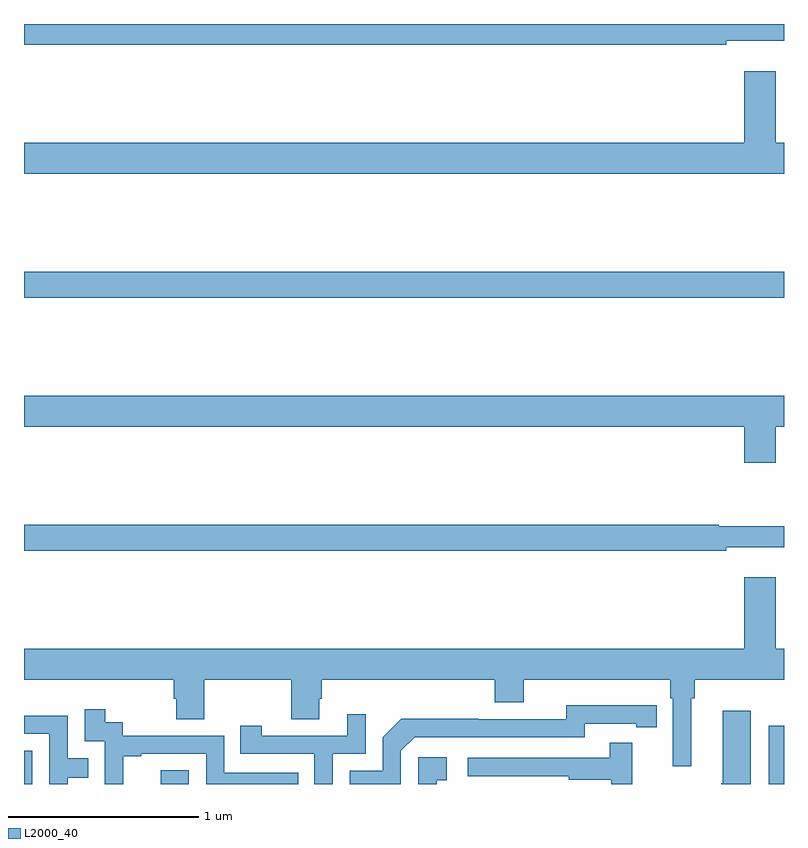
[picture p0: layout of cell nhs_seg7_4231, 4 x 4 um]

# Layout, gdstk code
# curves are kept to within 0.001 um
import gdstk
lib = gdstk.Library(unit=1e-6, precision=1e-09)
def R(c, l, rs):  # rectangles x0, y0, x1, y1
    for r in rs: c.add(gdstk.rectangle(r[:2], r[2:], *l))
def P(c, l, *ps):  # polygons
    for p in ps: c.add(gdstk.Polygon(p, *l))
L2000_40 = (2000, 40)

nhs_seg7_4231 = lib.new_cell('nhs_seg7_4231')
R(nhs_seg7_4231, L2000_40, [(377,1068,377.043,1068.174), (377.721,1068,377.868,1068.073), (380.919,1068,381,1068.307), (377,1070.56,381,1070.696)])
P(nhs_seg7_4231, L2000_40, [(380.696,1071.911),(381,1071.911),(381,1072),(377,1072),(377,1071.892),(380.696,1071.892)],
  [(381,1071.376),(380.956,1071.376),(380.956,1071.751),(380.792,1071.751),(380.792,1071.376),(377,1071.376),(377,1071.212),(381,1071.212)],
  [(380.956,1069.88),(381,1069.88),(381,1070.044),(377,1070.044),(377,1069.88),(380.792,1069.88),(380.792,1069.692),(380.956,1069.692)],
  [(380.696,1069.247),(381,1069.247),(381,1069.357),(380.657,1069.357),(380.657,1069.364),(377,1069.364),(377,1069.228),(380.696,1069.228)],
  [(377,1068.548),(377.789,1068.548),(377.789,1068.45),(377.801,1068.45),(377.801,1068.34),(377.949,1068.34),(377.949,1068.548),(378.406,1068.548),(378.406,1068.34),(378.553,1068.34),(378.553,1068.45),(378.566,1068.45),(378.566,1068.548),(379.478,1068.548),(379.478,1068.431),(379.63,1068.431),(379.63,1068.548),(380.402,1068.548),(380.402,1068.452),(380.415,1068.452),(380.415,1068.093),(380.512,1068.093),(380.512,1068.452),(380.531,1068.452),(380.531,1068.548),(381,1068.548),(381,1068.712),(380.956,1068.712),(380.956,1069.087),(380.792,1069.087),(380.792,1068.712),(377,1068.712)],
  [(378.984,1068.174),(379.056,1068.246),(379.95,1068.246),(379.95,1068.318),(380.222,1068.318),(380.222,1068.298),(380.33,1068.298),(380.33,1068.414),(379.854,1068.415),(379.854,1068.342),(379.394,1068.342),(379.394,1068.344),(378.986,1068.344),(378.888,1068.246),(378.888,1068.069),(378.714,1068.069),(378.714,1068),(378.984,1068)],
  [(377.522,1068.147),(377.617,1068.147),(377.617,1068.159),(377.958,1068.159),(377.958,1068),(378.443,1068),(378.443,1068.06),(378.054,1068.06),(378.054,1068.255),(377.52,1068.255),(377.52,1068.324),(377.428,1068.324),(377.428,1068.394),(377.319,1068.394),(377.319,1068.225),(377.424,1068.225),(377.424,1068),(377.522,1068)],
  [(380.824,1068.385),(380.678,1068.385),(380.678,1068.005),(380.671,1068.005),(380.671,1068),(380.824,1068)],
  [(378.624,1068.159),(378.798,1068.159),(378.798,1068.367),(378.701,1068.367),(378.701,1068.255),(378.25,1068.255),(378.25,1068.307),(378.139,1068.307),(378.139,1068.159),(378.528,1068.159),(378.528,1068),(378.624,1068)],
  [(377.229,1068.034),(377.339,1068.034),(377.339,1068.135),(377.229,1068.135),(377.229,1068.36),(377,1068.36),(377,1068.264),(377.133,1068.264),(377.133,1068),(377.229,1068)],
  [(380.201,1068.217),(380.083,1068.217),(380.083,1068.138),(379.335,1068.138),(379.335,1068.042),(379.867,1068.042),(379.867,1068.022),(380.091,1068.022),(380.091,1068),(380.201,1068)],
  [(379.172,1068.021),(379.225,1068.021),(379.225,1068.142),(379.074,1068.142),(379.074,1068),(379.172,1068)])

lib.write_gds('nhs_seg7_4231.gds')
